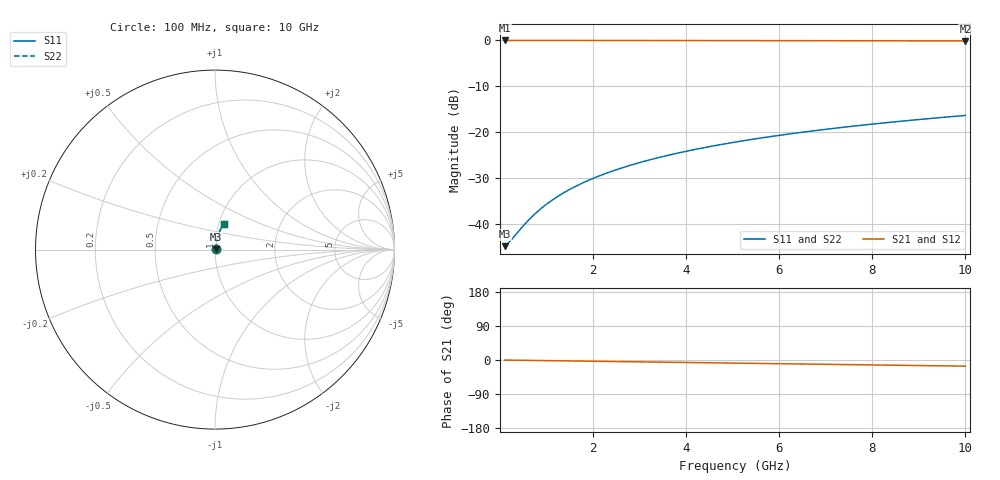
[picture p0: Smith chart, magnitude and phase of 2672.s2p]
# Hz S RI R 50.00
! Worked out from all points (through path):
!   100 points, 100 MHz to 10 GHz, reference 50 ohm
!   highest |S21| = -0.05 dB at 100 MHz (marker M1); lowest = -0.2 dB at 10 GHz (marker M2)
!   group delay of S21, straight-line fit = 4.51 ps
!   lowest |S11| = -44.8 dB at 100 MHz (marker M3), VSWR 1.01, Z = 50.6 + j0.155 ohm
!   |S11| at or under -10 dB: start of sweep to end of sweep
!   |S22| runs from -44.8 to -16.4 dB; largest |S21 - S12| = 0
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1e8  0.00558 0.00154  0.9944 -0.00283  0.9944 -0.00283  0.00558 0.00154
2e8  0.00563 0.00307  0.9944 -0.00567  0.9944 -0.00567  0.00563 0.00307
5e8  0.00579 0.00767  0.9942 -0.0142  0.9942 -0.0142  0.00579 0.00767
6e8  0.00585 0.00921  0.9941 -0.017  0.9941 -0.017  0.00585 0.00921
7e8  0.00592 0.0107  0.994 -0.0198  0.994 -0.0198  0.00592 0.0107
9e8  0.00609 0.0138  0.9938 -0.0255  0.9938 -0.0255  0.00609 0.0138
1.1e9  0.00628 0.0169  0.9936 -0.0311  0.9936 -0.0311  0.00628 0.0169
1.3e9  0.00651 0.0199  0.9933 -0.0368  0.9933 -0.0368  0.00651 0.0199
1.5e9  0.00678 0.023  0.993 -0.0425  0.993 -0.0425  0.00678 0.023
1.8e9  0.00723 0.0276  0.9925 -0.0509  0.9925 -0.0509  0.00723 0.0276
2.1e9  0.00777 0.0321  0.9918 -0.0594  0.9918 -0.0594  0.00777 0.0321
2.5e9  0.00859 0.0382  0.9908 -0.0707  0.9908 -0.0707  0.00859 0.0382
2.9e9  0.00956 0.0443  0.9897 -0.0819  0.9897 -0.0819  0.00956 0.0443
3.4e9  0.011 0.0518  0.988 -0.096  0.988 -0.096  0.011 0.0518
3.8e9  0.0122 0.0578  0.9865 -0.1072  0.9865 -0.1072  0.0122 0.0578
4.2e9  0.0136 0.0637  0.9848 -0.1183  0.9848 -0.1183  0.0136 0.0637
5.1e9  0.0173 0.077  0.9805 -0.1433  0.9805 -0.1433  0.0173 0.077
5.9e9  0.0211 0.0886  0.9759 -0.1653  0.9759 -0.1653  0.0211 0.0886
6.7e9  0.0254 0.1  0.9707 -0.1872  0.9707 -0.1872  0.0254 0.1
7.5e9  0.0302 0.1112  0.9649 -0.2088  0.9649 -0.2088  0.0302 0.1112
8.4e9  0.0362 0.1234  0.9577 -0.2328  0.9577 -0.2328  0.0362 0.1234
1e10  0.0483 0.1443  0.943 -0.2747  0.943 -0.2747  0.0483 0.1443
